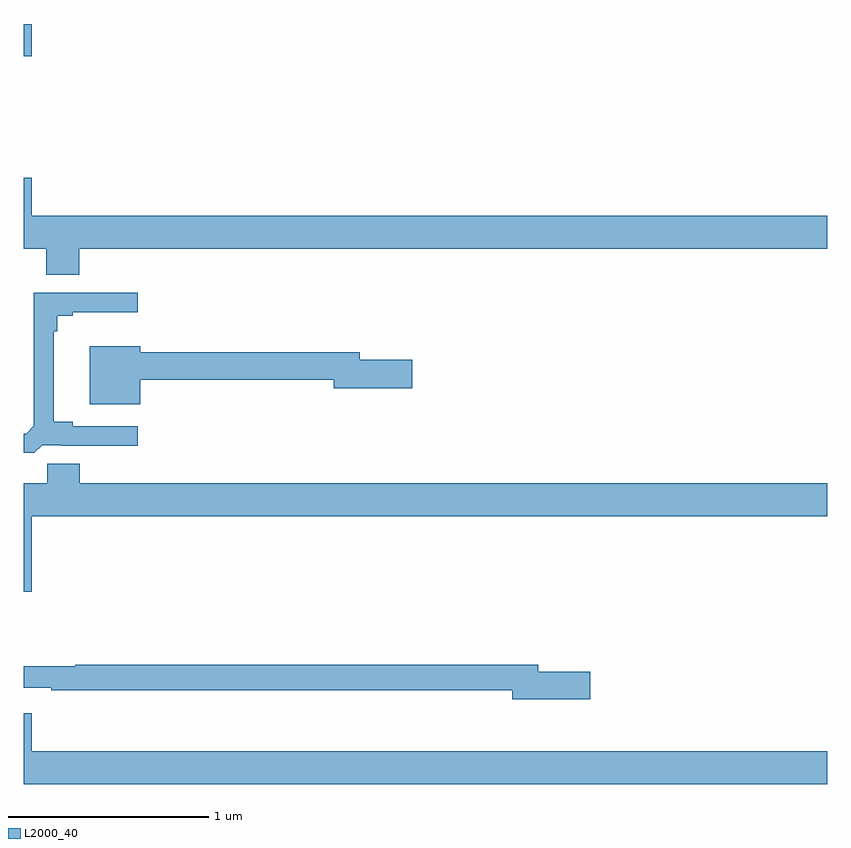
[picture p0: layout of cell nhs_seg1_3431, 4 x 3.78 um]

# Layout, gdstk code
import gdstk
lib = gdstk.Library(unit=1e-6, precision=1e-09)
def R(c, l, rs):  # rectangles x0, y0, x1, y1
    for r in rs: c.add(gdstk.rectangle(r[:2], r[2:], *l))
def P(c, l, *ps):  # polygons
    for p in ps: c.add(gdstk.Polygon(p, *l))
L2000_40 = (2000, 40)

nhs_seg1_3431 = lib.new_cell('nhs_seg1_3431')
R(nhs_seg1_3431, L2000_40, [(297,538.038,297.04,538.199)])
P(nhs_seg1_3431, L2000_40, [(297.277,537.08),(301,537.08),(301,537.244),(297.04,537.244),(297.04,537.433),(297,537.433),(297,537.08),(297.113,537.08),(297.113,536.952),(297.277,536.952)],
  [(297.093,536.103),(297.187,536.103),(297.187,536.099),(297.568,536.099),(297.568,536.196),(297.244,536.196),(297.244,536.219),(297.149,536.219),(297.149,536.669),(297.167,536.669),(297.167,536.746),(297.244,536.746),(297.244,536.765),(297.568,536.765),(297.568,536.862),(297.051,536.862),(297.051,536.199),(297.012,536.16),(297,536.16),(297,536.064),(297.053,536.064)],
  [(297.58,536.428),(298.544,536.428),(298.544,536.386),(298.933,536.386),(298.933,536.528),(298.672,536.528),(298.672,536.564),(297.58,536.564),(297.58,536.596),(297.329,536.596),(297.329,536.306),(297.58,536.306)],
  [(297.04,535.748),(301,535.748),(301,535.912),(297.278,535.912),(297.278,536.01),(297.118,536.01),(297.118,535.912),(297,535.912),(297,535.374),(297.04,535.374)],
  [(299.821,534.974),(299.56,534.974),(299.56,535.01),(297.256,535.01),(297.256,535.003),(297,535.003),(297,534.894),(297.136,534.894),(297.136,534.882),(299.432,534.882),(299.432,534.839),(299.821,534.839)],
  [(301,534.58),(297.04,534.58),(297.04,534.769),(297,534.769),(297,534.416),(301,534.416)])

lib.write_gds('nhs_seg1_3431.gds')
